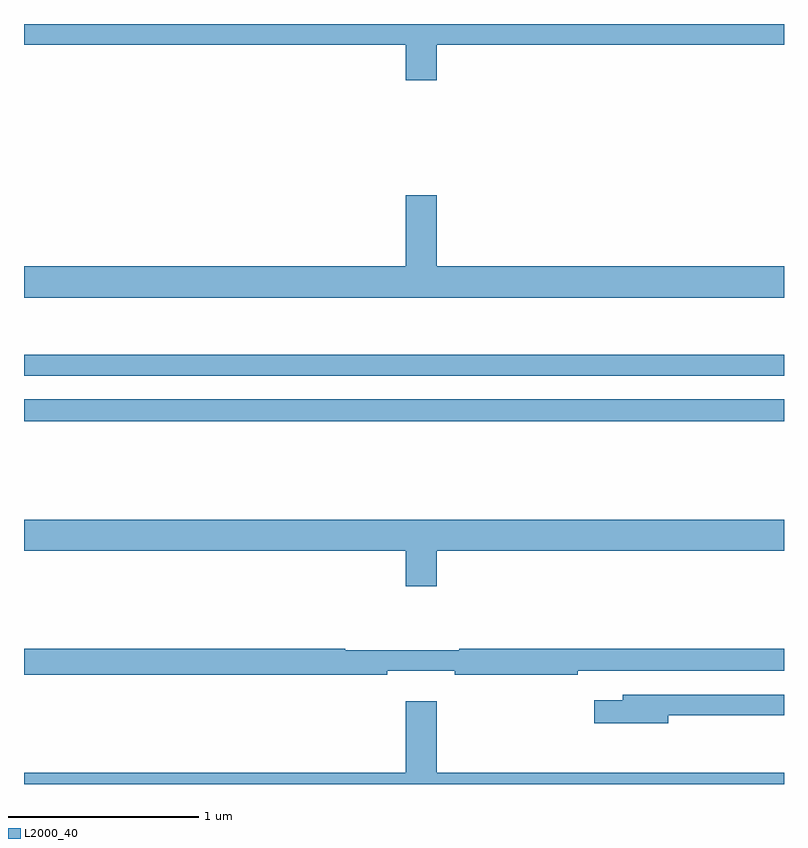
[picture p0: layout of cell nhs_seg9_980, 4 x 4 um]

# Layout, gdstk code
import gdstk
lib = gdstk.Library(unit=1e-6, precision=1e-09)
def R(c, l, rs):  # rectangles x0, y0, x1, y1
    for r in rs: c.add(gdstk.rectangle(r[:2], r[2:], *l))
def P(c, l, *ps):  # polygons
    for p in ps: c.add(gdstk.Polygon(p, *l))
L2000_40 = (2000, 40)

nhs_seg9_980 = lib.new_cell('nhs_seg9_980')
R(nhs_seg9_980, L2000_40, [(163,1222.408,167,1222.524), (163,1222.65,167,1222.759)])
P(nhs_seg9_980, L2000_40, [(165.172,1224.392),(167,1224.392),(167,1224.5),(163,1224.5),(163,1224.392),(165.008,1224.392),(165.008,1224.204),(165.172,1224.204)],
  [(167,1223.224),(165.172,1223.224),(165.172,1223.599),(165.008,1223.599),(165.008,1223.224),(163,1223.224),(163,1223.06),(167,1223.06)],
  [(165.172,1221.728),(167,1221.728),(167,1221.892),(163,1221.892),(163,1221.728),(165.008,1221.728),(165.008,1221.54),(165.172,1221.54)],
  [(164.912,1221.095),(165.268,1221.095),(165.268,1221.076),(165.914,1221.076),(165.914,1221.096),(167,1221.096),(167,1221.212),(165.29,1221.212),(165.29,1221.205),(164.69,1221.205),(164.69,1221.212),(163,1221.212),(163,1221.076),(164.912,1221.076)],
  [(166.39,1220.862),(167,1220.862),(167,1220.97),(166.151,1220.97),(166.151,1220.941),(166.002,1220.941),(166.002,1220.819),(166.39,1220.819)],
  [(167,1220.56),(165.172,1220.56),(165.172,1220.935),(165.008,1220.935),(165.008,1220.56),(163,1220.56),(163,1220.5),(167,1220.5)])

lib.write_gds('nhs_seg9_980.gds')
